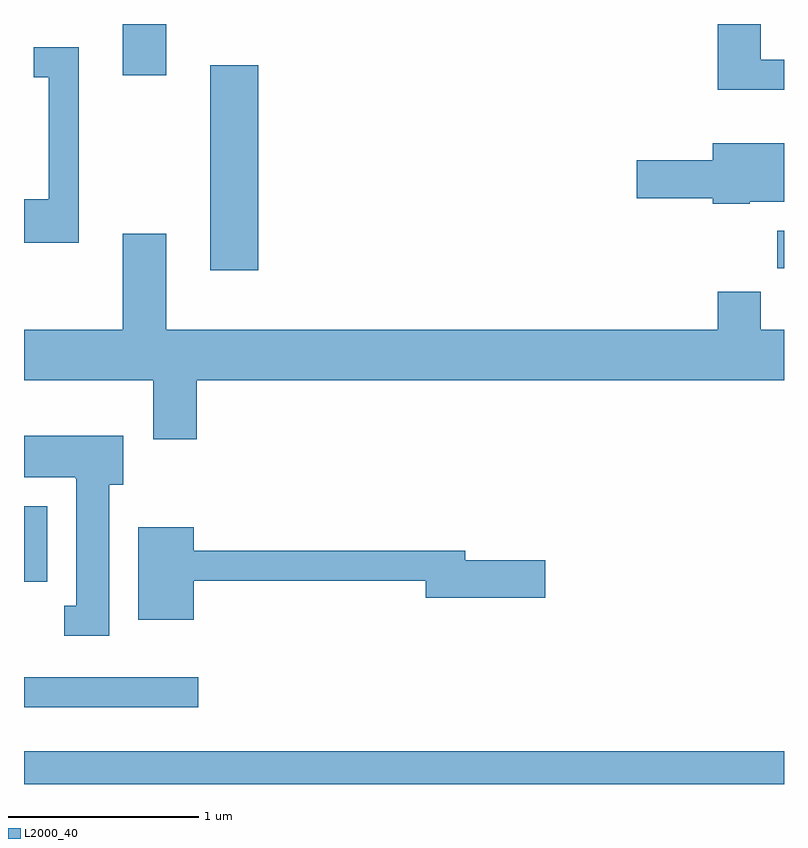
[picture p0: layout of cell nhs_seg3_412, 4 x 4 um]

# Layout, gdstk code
import gdstk
lib = gdstk.Library(unit=1e-6, precision=1e-09)
def R(c, l, rs):  # rectangles x0, y0, x1, y1
    for r in rs: c.add(gdstk.rectangle(r[:2], r[2:], *l))
def P(c, l, *ps):  # polygons
    for p in ps: c.add(gdstk.Polygon(p, *l))
L2000_40 = (2000, 40)

nhs_seg3_412 = lib.new_cell('nhs_seg3_412')
R(nhs_seg3_412, L2000_40, [(197.611,1123.892,201.611,1124.064), (197.611,1124.296,198.528,1124.454), (197.611,1124.956,197.734,1125.354), (198.591,1126.596,198.844,1127.674), (201.576,1126.606,201.611,1126.804), (198.131,1127.621,198.359,1127.892)])
P(nhs_seg3_412, L2000_40, [(201.611,1127.704),(201.489,1127.704),(201.489,1127.892),(201.261,1127.892),(201.261,1127.546),(201.611,1127.546)],
  [(197.899,1127.769),(197.663,1127.769),(197.663,1127.611),(197.741,1127.611),(197.741,1126.969),(197.611,1126.969),(197.611,1126.741),(197.899,1126.741)],
  [(201.43,1126.956),(201.611,1126.956),(201.611,1127.264),(201.236,1127.264),(201.236,1127.174),(200.836,1127.174),(200.836,1126.976),(201.236,1126.976),(201.236,1126.946),(201.43,1126.946)],
  [(198.519,1126.016),(201.611,1126.016),(201.611,1126.284),(201.489,1126.284),(201.489,1126.484),(201.261,1126.484),(201.261,1126.284),(198.359,1126.284),(198.359,1126.789),(198.131,1126.789),(198.131,1126.284),(197.611,1126.284),(197.611,1126.016),(198.291,1126.016),(198.291,1125.706),(198.519,1125.706)],
  [(198.059,1125.466),(198.134,1125.466),(198.134,1125.724),(197.611,1125.724),(197.611,1125.506),(197.88,1125.506),(197.88,1125.5),(197.886,1125.5),(197.886,1124.829),(197.823,1124.829),(197.823,1124.671),(198.059,1124.671)],
  [(198.504,1124.961),(199.726,1124.961),(199.726,1124.871),(200.354,1124.871),(200.354,1125.069),(199.934,1125.069),(199.934,1125.119),(198.504,1125.119),(198.504,1125.244),(198.211,1125.244),(198.211,1124.756),(198.504,1124.756)])

lib.write_gds('nhs_seg3_412.gds')
